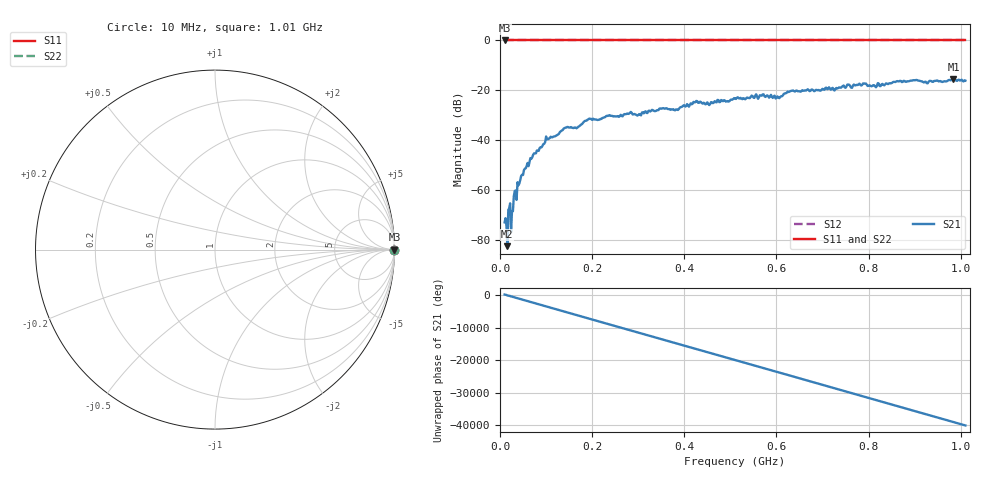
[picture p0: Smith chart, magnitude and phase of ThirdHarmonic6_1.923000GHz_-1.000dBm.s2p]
! 8/16/2025 11:11:17 PM
! C:\ANRITSUVNA\TEMP\TEMP.S2P
! CHANNEL.1
! TR.MEASUREMENT
! RAW.DATA
! RF.CORRECTION.OFF
! AVERAGING.OFF
! IF.BANDWIDTH: 5KHZ
! SWEEPTYPE:  FREQ.SWEEP(Linear)
! Reference Plane Port Info
! PORT:  PORT1  PORT2
! DISTANCE:  0  m  0  m
! TIME:  0  s  0  s
! PHASE.OFFSET:  0  deg.  0  deg.
! LOSS:  0  dB  0  dB
! REF.LOSS:  0  dB  0  dB
! REF.FREQ:  0  Hz  0  Hz
! Power Info
! POWER:  -20  dBm  -20  dBm
! EFF.POWER:  -20  dBm  -20  dBm
! SOURCE.ATTEN:  0  dB  0  dB
! TEST.ATTEN:  0  dB  0  dB
# GHZ S RI R 50.0
! FREQ.GHZ  S11RE  S11IM  S21RE  S21IM  S12RE  S12IM  S22RE  S22IM
!; PortSelection: Port_12
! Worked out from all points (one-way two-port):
!   501 points, 10 MHz to 1.01 GHz, reference 50 ohm
!   highest |S21| = -15.46 dB at 984 MHz (marker M1); lowest = -82.5 dB at 16 MHz (marker M2)
!   lowest |S11| = 0.0 dB at 10 MHz (marker M3)
!   |S11| at or under -10 dB: nowhere
!   |S22| runs from 0.0 to 0.0 dB; largest |S21 - S12| = 1.2
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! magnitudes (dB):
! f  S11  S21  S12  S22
! 10 MHz  0.0  -73.0  0.0  0.0
! 12 MHz  0.0  -71.3  0.0  0.0
! 16 MHz  0.0  -82.5  0.0  0.0
! 28 MHz  0.0  -68.5  0.0  0.0
! 30 MHz  0.0  -62.5  0.0  0.0
! 34 MHz  0.0  -60.2  0.0  0.0
! 42 MHz  0.0  -57.3  0.0  0.0
! 70 MHz  0.0  -46.9  0.0  0.0
! 104 MHz  0.0  -39.6  0.0  0.0
! 142 MHz  0.0  -35.0  0.0  0.0
! 178 MHz  0.0  -33.5  0.0  0.0
! 194 MHz  0.0  -31.3  0.0  0.0
! 344 MHz  0.0  -27.9  0.0  0.0
! 382 MHz  0.0  -27.7  0.0  0.0
! 510 MHz  0.0  -23.3  0.0  0.0
! 568 MHz  0.0  -22.2  0.0  0.0
! 602 MHz  0.0  -22.4  0.0  0.0
! 632 MHz  0.0  -20.2  0.0  0.0
! 678 MHz  0.0  -19.7  0.0  0.0
! 844 MHz  0.0  -17.3  0.0  0.0
! 984 MHz  0.0  -15.5  0.0  0.0
! 1.01 GHz  0.0  -16.1  0.0  0.0
